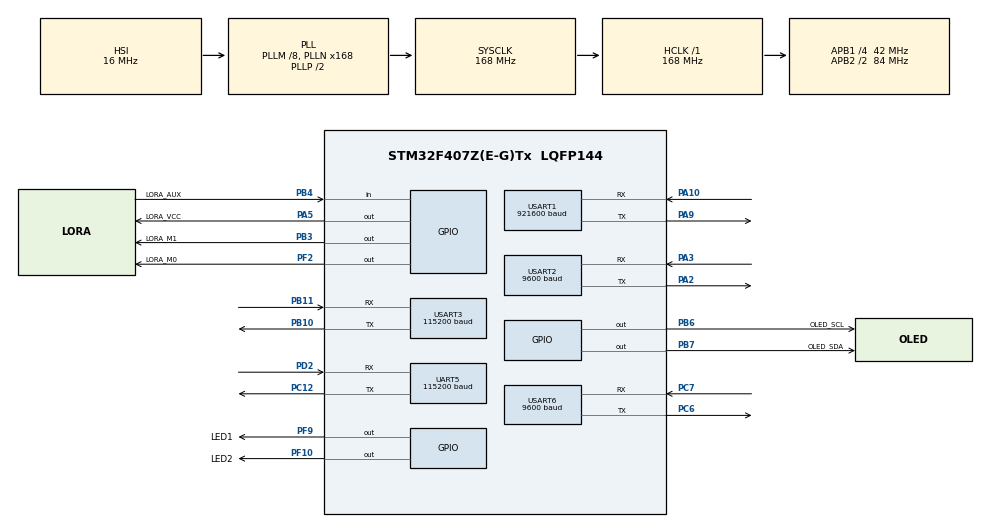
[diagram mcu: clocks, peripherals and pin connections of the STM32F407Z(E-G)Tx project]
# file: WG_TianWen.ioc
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Dma.Request0=USART2_RX
Dma.Request1=USART2_TX
Dma.Request2=UART5_RX
Dma.UART5_RX.2.Direction=DMA_PERIPH_TO_MEMORY
Dma.UART5_RX.2.FIFOMode=DMA_FIFOMODE_DISABLE
Dma.UART5_RX.2.Instance=DMA1_Stream0
Dma.UART5_RX.2.MemDataAlignment=DMA_MDATAALIGN_BYTE
Dma.UART5_RX.2.MemInc=DMA_MINC_ENABLE
Dma.UART5_RX.2.Mode=DMA_NORMAL
Dma.UART5_RX.2.PeriphDataAlignment=DMA_PDATAALIGN_BYTE
Dma.UART5_RX.2.PeriphInc=DMA_PINC_DISABLE
Dma.UART5_RX.2.Priority=DMA_PRIORITY_HIGH
Dma.USART2_RX.0.Direction=DMA_PERIPH_TO_MEMORY
Dma.USART2_RX.0.FIFOMode=DMA_FIFOMODE_DISABLE
Dma.USART2_RX.0.Instance=DMA1_Stream5
Dma.USART2_RX.0.MemDataAlignment=DMA_MDATAALIGN_BYTE
Dma.USART2_RX.0.MemInc=DMA_MINC_ENABLE
Dma.USART2_RX.0.Mode=DMA_NORMAL
Dma.USART2_RX.0.PeriphDataAlignment=DMA_PDATAALIGN_BYTE
Dma.USART2_RX.0.PeriphInc=DMA_PINC_DISABLE
Dma.USART2_RX.0.Priority=DMA_PRIORITY_LOW
Dma.USART2_TX.1.Direction=DMA_MEMORY_TO_PERIPH
Dma.USART2_TX.1.FIFOMode=DMA_FIFOMODE_DISABLE
Dma.USART2_TX.1.Instance=DMA1_Stream6
Dma.USART2_TX.1.MemDataAlignment=DMA_MDATAALIGN_BYTE
Dma.USART2_TX.1.MemInc=DMA_MINC_ENABLE
Dma.USART2_TX.1.Mode=DMA_NORMAL
Dma.USART2_TX.1.PeriphDataAlignment=DMA_PDATAALIGN_BYTE
Dma.USART2_TX.1.PeriphInc=DMA_PINC_DISABLE
Dma.USART2_TX.1.Priority=DMA_PRIORITY_LOW
Mcu.Family=STM32F4
Mcu.Name=STM32F407Z(E-G)Tx
Mcu.Package=LQFP144
NVIC.DMA1_Stream0_IRQn=true\:0\:0\:false\:false\:true\:false\:true\:true
NVIC.DMA1_Stream5_IRQn=true\:0\:0\:false\:false\:true\:false\:true\:true
NVIC.DMA1_Stream6_IRQn=true\:0\:0\:false\:false\:true\:false\:true\:true
NVIC.PriorityGroup=NVIC_PRIORITYGROUP_4
NVIC.UART5_IRQn=true\:0\:0\:false\:false\:true\:true\:true\:true
NVIC.USART2_IRQn=true\:0\:0\:false\:false\:true\:true\:true\:true
NVIC.USART3_IRQn=true\:0\:0\:false\:false\:true\:true\:true\:true
PA10.Mode=Asynchronous
PA10.Signal=USART1_RX
PA2.Mode=Asynchronous
PA2.Signal=USART2_TX
PA3.Mode=Asynchronous
PA3.Signal=USART2_RX
PA5.GPIO_Label=LORA_VCC
PA5.Signal=GPIO_Output
PA9.Mode=Asynchronous
PA9.Signal=USART1_TX
PB10.Mode=Asynchronous
PB10.Signal=USART3_TX
PB11.Mode=Asynchronous
PB11.Signal=USART3_RX
PB3.GPIO_Label=LORA_M1
PB3.Signal=GPIO_Output
PB4.GPIO_Label=LORA_AUX
PB4.Signal=GPIO_Input
PB6.GPIO_Label=OLED_SCL
PB6.GPIO_PuPd=GPIO_PULLUP
PB6.Signal=GPIO_Output
PB7.GPIO_Label=OLED_SDA
PB7.GPIO_PuPd=GPIO_PULLUP
PB7.Signal=GPIO_Output
PC12.Mode=Asynchronous
PC12.Signal=UART5_TX
PC6.Mode=Asynchronous
PC6.Signal=USART6_TX
PC7.Mode=Asynchronous
PC7.Signal=USART6_RX
PD2.Mode=Asynchronous
PD2.Signal=UART5_RX
PF10.GPIO_Label=LED2
PF10.Signal=GPIO_Output
PF2.GPIO_Label=LORA_M0
PF2.Signal=GPIO_Output
PF9.GPIO_Label=LED1
PF9.Signal=GPIO_Output
PH0-OSC_IN.Mode=HSE-External-Oscillator
PH0-OSC_IN.Signal=RCC_OSC_IN
PH1-OSC_OUT.Mode=HSE-External-Oscillator
PH1-OSC_OUT.Signal=RCC_OSC_OUT
ProjectManager.HeapSize=0x200
ProjectManager.StackSize=0x400
ProjectManager.TargetToolchain=MDK-ARM V5.32
RCC.48MHZClocksFreq_Value=84000000
RCC.AHBFreq_Value=168000000
RCC.APB1CLKDivider=RCC_HCLK_DIV4
RCC.APB1Freq_Value=42000000
RCC.APB1TimFreq_Value=84000000
RCC.APB2CLKDivider=RCC_HCLK_DIV2
RCC.APB2Freq_Value=84000000
RCC.APB2TimFreq_Value=168000000
RCC.CortexFreq_Value=168000000
RCC.HCLKFreq_Value=168000000
RCC.HSE_VALUE=25000000
RCC.HSI_VALUE=16000000
RCC.LSE_VALUE=32768
RCC.PLLM=8
RCC.PLLN=168
RCC.SYSCLKFreq_VALUE=168000000
RCC.SYSCLKSource=RCC_SYSCLKSOURCE_PLLCLK
RCC.VCOOutputFreq_Value=336000000
UART5.BaudRate=115200
UART5.VirtualMode=Asynchronous
USART1.BaudRate=921600
USART1.VirtualMode=VM_ASYNC
USART2.BaudRate=9600
USART2.VirtualMode=VM_ASYNC
USART3.BaudRate=115200
USART3.VirtualMode=VM_ASYNC
USART6.BaudRate=9600
USART6.VirtualMode=VM_ASYNC
board=custom

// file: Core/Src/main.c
/* USER CODE BEGIN Header */
/**
  ******************************************************************************
  * @file           : main.c
  * @brief          : Main program body
  ******************************************************************************
  * @attention
  *
  * Copyright (c) 2026 STMicroelectronics.
  * All rights reserved.
  *
  * This software is licensed under terms that can be found in the LICENSE file
  * in the root directory of this software component.
  * If no LICENSE file comes with this software, it is provided AS-IS.
  *
  ******************************************************************************
  */
/* USER CODE END Header */
#include "main.h"
#include "dma.h"
#include "usart.h"
#include "gpio.h"

/* USER CODE BEGIN Includes */
#include "oled.h"
#include "lora.h"
#include "gateway_status.h"
#include "shumeipai.h"
#include "bobao.h"
#include "lte_api.h"
#include "lte_onenet.h"
#include "tjc_hmi.h"
#include <string.h>
#include <stdio.h>
/* USER CODE END Includes */

/* USER CODE BEGIN PD */
#define U5_REQUIRE_LOOPBACK_AT_BOOT 0
#define U4_REQUIRE_LOOPBACK_AT_BOOT 0
#define U3_REQUIRE_LOOPBACK_AT_BOOT 0

/* USER CODE END PD */

/* USER CODE BEGIN PV */
static uint32_t oled_last_tick = 0;
static char oled_fall_last[24] = "";
static char oled_vcc_last[24] = "";
static char oled_pir_last[24] = "";
static char oled_hr_last[16] = "";
static char oled_spo2_last[16] = "";
static char oled_pi_last[24] = "";
static uint8_t g_lte_enabled = 0;
/* USER CODE END PV */

void SystemClock_Config(void);

int main(void)
{

  /* MCU Configuration--------------------------------------------------------*/

  /* Reset of all peripherals, Initializes the Flash interface and the Systick. */
  HAL_Init();

  /* Configure the system clock */
  SystemClock_Config();

  /* Initialize all configured peripherals */
  MX_GPIO_Init();
  MX_DMA_Init();
  MX_USART1_UART_Init();
  MX_USART2_UART_Init();
  MX_USART3_UART_Init();
  MX_UART5_Init();
  MX_USART6_UART_Init();
  /* USER CODE BEGIN 2 */
  u2_BuffInit();
  LoRa_Init();

  u1_printf("\r\n\r\n1-正常传输模式 定点传输（网关板 F407）\r\n");
  u1_printf("系统启动成功\r\n");

  OLED_Init();
  OLED_Clear();
  ShumeiPi_Init();
  Bobao_Init();
  HAL_UART_Receive_IT(&huart3, &u3_rx_byte, 1);
  HAL_UART_Receive_DMA(&huart5, U4_RxBuf, U4_RXMAX_SIZE);
  __HAL_UART_CLEAR_IDLEFLAG(&huart5);
  __HAL_UART_ENABLE_IT(&huart5, UART_IT_IDLE);

  if (lte_comm_init() == 0)
  {
    LTE_Onenet_Init();
    g_lte_enabled = 1;
  }
  else
  {
    u1_printf("[4G] lte_comm_init failed\r\n");
  }
  /* USER CODE END 2 */

  /* Infinite loop */
  while (1)
  {

    /* USER CODE BEGIN 3 */
    if (HAL_GetTick() - oled_last_tick >= 500)
    {
      char fall_buf[24];
      char vcc_buf[24];
      char pir_buf[24];
      char hr_buf[16];
      char spo2_buf[16];
      oled_last_tick = HAL_GetTick();

      sprintf(fall_buf, "FALL:%-8s", GW_Status_ToStr(GW_Status_GetFall()));
      sprintf(vcc_buf,  "VCC :%-8s", GW_Status_ToStr(GW_Status_GetVcc()));
      sprintf(pir_buf,  "PIR :%-8s", GW_Status_ToStr(GW_Status_GetPir()));
      if (GW_Status_HrValid()) sprintf(hr_buf,   "HR:%3u",   GW_Status_GetHr());
      else                     sprintf(hr_buf,   "HR:--");
      if (GW_Status_Spo2Valid()) sprintf(spo2_buf, "SPO2:%3u", GW_Status_GetSpo2());
      else                       sprintf(spo2_buf, "SPO2:--");
      ShumeiPi_Counts_t pi_counts;
      char pi_buf[24];
      ShumeiPi_GetCounts(&pi_counts);
      sprintf(pi_buf, "P:%u H:%u W:%u", pi_counts.person, pi_counts.half, pi_counts.work);
      TJC_UpdateMainPage(
        GW_Status_ToStr(GW_Status_GetFall()),
        GW_Status_ToStr(GW_Status_GetVcc()),
        GW_Status_ToStr(GW_Status_GetPir()),
        pi_counts.person,
        pi_counts.half,
        pi_counts.work
      );
      {
        tri_state_t tfall = GW_Status_GetFall();
        tri_state_t tvcc  = GW_Status_GetVcc();
        tri_state_t tpir  = GW_Status_GetPir();
        Bobao_Input_t in;

        in.fall_valid = (tfall != ST_UNKNOWN);
        in.fall = (tfall == ST_TRUE);
        in.vcc_valid = (tvcc != ST_UNKNOWN);
        in.vcc = (tvcc == ST_TRUE);
        in.pir_valid = (tpir != ST_UNKNOWN);
        in.pir = (tpir == ST_TRUE);
        in.person_cnt = pi_counts.person;
        in.half_cnt = pi_counts.half;
        in.work_cnt = pi_counts.work;

        Bobao_UpdateAll(&in);

        if (g_lte_enabled)
        {
          LTE_Onenet_UpdateData(
            (tfall == ST_TRUE) ? 1 : 0,
            (tpir == ST_TRUE) ? 1 : 0,
            (tvcc == ST_TRUE) ? 1 : 0,
            pi_counts.person,
            pi_counts.half,
            pi_counts.work,
            GW_Status_HrValid() ? GW_Status_GetHr() : 0,
            GW_Status_Spo2Valid() ? GW_Status_GetSpo2() : 0
          );
          LTE_Onenet_Run();
        }
      }

      if (strcmp(fall_buf, oled_fall_last) != 0)
      {
        OLED_ShowString(0, 0, (uint8_t *)fall_buf, 8);
        strcpy(oled_fall_last, fall_buf);
      }

      if (strcmp(vcc_buf, oled_vcc_last) != 0)
      {
        OLED_ShowString(0, 1, (uint8_t *)vcc_buf, 8);
        strcpy(oled_vcc_last, vcc_buf);
      }

      if (strcmp(pir_buf, oled_pir_last) != 0)
      {
        OLED_ShowString(0, 2, (uint8_t *)pir_buf, 8);
        strcpy(oled_pir_last, pir_buf);
      }

      if (strcmp(hr_buf, oled_hr_last) != 0)
      {
        OLED_ShowString(0, 3, (uint8_t *)"                ", 8);
        OLED_ShowString(0, 3, (uint8_t *)hr_buf, 16);
        strcpy(oled_hr_last, hr_buf);
      }

      if (strcmp(spo2_buf, oled_spo2_last) != 0)
      {
        OLED_ShowString(0, 5, (uint8_t *)"                ", 8);
        OLED_ShowString(0, 5, (uint8_t *)spo2_buf, 16);
        strcpy(oled_spo2_last, spo2_buf);
      }

      if (strcmp(pi_buf, oled_pi_last) != 0)
      {
        OLED_ShowString(0, 7, (uint8_t *)pi_buf, 8);
        strcpy(oled_pi_last, pi_buf);
      }
    }

		while (UART2_ControlCB.UsartRxDataOutPtr != UART2_ControlCB.UsartRxDataInPtr)
		{
			uint8_t *pStart = UART2_ControlCB.UsartRxDataOutPtr->StartPtr;
			uint16_t len = (uint16_t)(UART2_ControlCB.UsartRxDataOutPtr->EndPtr - pStart);

			if (len >= 3)
			{
				uint8_t srcH = pStart[0];
				uint8_t srcL = pStart[1];

				u1_printf("收到节点[%02X%02X] [%d]: ", srcH, srcL, len - 2);
				for (uint16_t i = 2; i < len; i++)
				{
					while (__HAL_UART_GET_FLAG(&huart1, UART_FLAG_TC) != SET);
					huart1.Instance->DR = pStart[i];
				}
				u1_printf("\r\n");

				GW_Status_ProcessText(&pStart[2], (uint16_t)(len - 2));
			}
			else if (len > 0)
			{
				u1_printf("收到短包[%d]\r\n", len);
			}

			UART2_ControlCB.UsartRxDataOutPtr++;
			if (UART2_ControlCB.UsartRxDataOutPtr == UART2_ControlCB.UsartRxDataEndPtr)
			{
				UART2_ControlCB.UsartRxDataOutPtr = &UART2_ControlCB.Usart_RxLocation[0];
			}
		}
  }
  /* USER CODE END 3 */
}

void SystemClock_Config(void)
{
  RCC_OscInitTypeDef RCC_OscInitStruct = {0};
  RCC_ClkInitTypeDef RCC_ClkInitStruct = {0};

  /** Configure the main internal regulator output voltage
  */
  __HAL_RCC_PWR_CLK_ENABLE();
  __HAL_PWR_VOLTAGESCALING_CONFIG(PWR_REGULATOR_VOLTAGE_SCALE1);

  /** Initializes the RCC Oscillators according to the specified parameters
  * in the RCC_OscInitTypeDef structure.
  */
  RCC_OscInitStruct.OscillatorType = RCC_OSCILLATORTYPE_HSI;
  RCC_OscInitStruct.HSIState = RCC_HSI_ON;
  RCC_OscInitStruct.HSICalibrationValue = RCC_HSICALIBRATION_DEFAULT;
  RCC_OscInitStruct.PLL.PLLState = RCC_PLL_ON;
  RCC_OscInitStruct.PLL.PLLSource = RCC_PLLSOURCE_HSI;
  RCC_OscInitStruct.PLL.PLLM = 8;
  RCC_OscInitStruct.PLL.PLLN = 168;
  RCC_OscInitStruct.PLL.PLLP = RCC_PLLP_DIV2;
  RCC_OscInitStruct.PLL.PLLQ = 4;
  if (HAL_RCC_OscConfig(&RCC_OscInitStruct) != HAL_OK)
  {
    Error_Handler();
  }

  /** Initializes the CPU, AHB and APB buses clocks
  */
  RCC_ClkInitStruct.ClockType = RCC_CLOCKTYPE_HCLK|RCC_CLOCKTYPE_SYSCLK
                              |RCC_CLOCKTYPE_PCLK1|RCC_CLOCKTYPE_PCLK2;
  RCC_ClkInitStruct.SYSCLKSource = RCC_SYSCLKSOURCE_PLLCLK;
  RCC_ClkInitStruct.AHBCLKDivider = RCC_SYSCLK_DIV1;
  RCC_ClkInitStruct.APB1CLKDivider = RCC_HCLK_DIV4;
  RCC_ClkInitStruct.APB2CLKDivider = RCC_HCLK_DIV2;

  if (HAL_RCC_ClockConfig(&RCC_ClkInitStruct, FLASH_LATENCY_5) != HAL_OK)
  {
    Error_Handler();
  }
}

void Error_Handler(void)
{
  __disable_irq();
  while (1)
  {
  }
}
